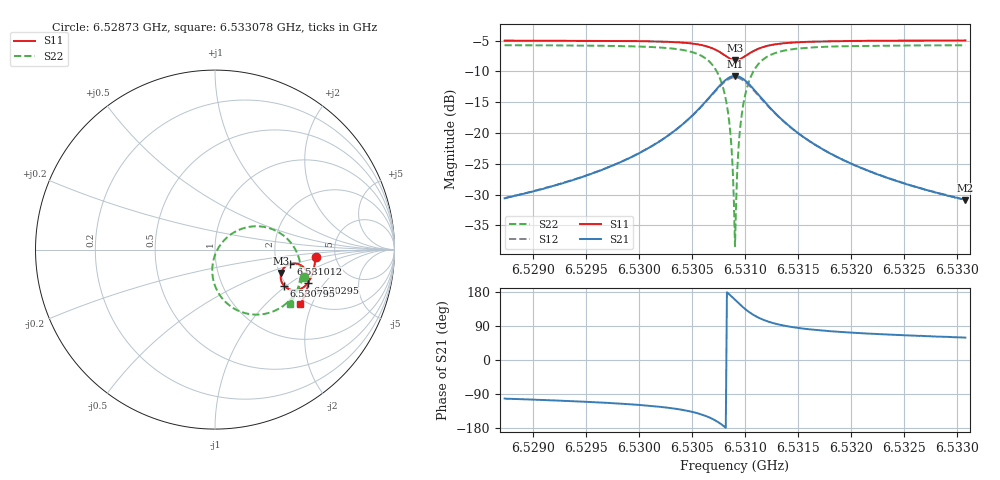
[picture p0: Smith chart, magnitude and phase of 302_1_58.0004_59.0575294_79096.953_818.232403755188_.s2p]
#  HZ  S  RI  R  50.00
! Rohde & Schwarz Vector Network Analyzer
! Rohde-Schwarz,ZNB20-2Port,1311601062101988,3.16
! Created: UTC 3/21/2024, 1:03:49 AM
! freq[Hz]  re:S11  im:S11  re:S21  im:S21  re:S12  im:S12  re:S22  im:S22
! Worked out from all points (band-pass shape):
!   401 points, 6.52873 GHz to 6.533078 GHz, reference 50 ohm
!   highest |S21| = -10.72 dB at 6.530904 GHz (marker M1); lowest = -30.9 dB at 6.533078 GHz (marker M2)
!   |S21| within 3 dB of the highest: 6.530687 GHz to 6.531122 GHz (435.2 kHz wide, 0.00666 % of centre)
!   lowest |S11| = -8.2 dB at 6.530904 GHz (marker M3), VSWR 2.28, Z = 102 - j31.4 ohm
!   |S11| at or under -10 dB: nowhere
!   |S22| runs from -38.4 to -5.8 dB; largest |S21 - S12| = 0.011
!   S11 on the Smith chart (normalised r, x): 6.52873 GHz: 3.50, -0.45; 6.530295 GHz: 2.59, -1.39; 6.530795 GHz: 1.94, -0.96; 6.531012 GHz: 2.39, -0.46; 6.533078 GHz: 1.85, -1.65
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6.5287296e9  0.5601 -0.0439  -0.00597 -0.0289  -0.0067 -0.0289  0.4932 -0.1506
6.5294579e9  0.551 -0.104  -0.0148 -0.0412  -0.0158 -0.041  0.464 -0.2166
6.5301862e9  0.5244 -0.1748  -0.0466 -0.071  -0.0485 -0.0698  0.3872 -0.3083
6.5302949e9  0.5156 -0.1876  -0.059 -0.0788  -0.0613 -0.0771  0.361 -0.3261
6.5306319e9  0.4533 -0.2258  -0.1545 -0.0962  -0.1567 -0.0901  0.1804 -0.357
6.5307297e9  0.4141 -0.2215  -0.2154 -0.0724  -0.2149 -0.0637  0.0773 -0.3083
6.5307949e9  0.3848 -0.2012  -0.2585 -0.0278  -0.2544 -0.0184  0.0107 -0.2261
6.5308493e9  0.3679 -0.1697  -0.2802 0.033  -0.2724 0.0406  -0.0155 -0.1218
6.530871e9  0.3658 -0.1543  -0.2811 0.0614  -0.2719 0.0676  -0.0119 -0.0748
6.5308819e9  0.3657 -0.1463  -0.2793 0.0759  -0.2699 0.0813  -0.00686 -0.0512
6.5308928e9  0.3665 -0.1383  -0.2762 0.0904  -0.2664 0.0949  0.000648 -0.0283
6.5309036e9  0.3684 -0.1305  -0.2716 0.1045  -0.2617 0.1082  0.0106 -0.00576
6.5309145e9  0.3712 -0.1227  -0.2657 0.1182  -0.2557 0.1209  0.0226 0.0155
6.5309254e9  0.3746 -0.1155  -0.2583 0.131  -0.2485 0.1328  0.0366 0.0355
6.5309363e9  0.3788 -0.1088  -0.25 0.143  -0.2402 0.144  0.0524 0.0537
6.530958e9  0.389 -0.0969  -0.2302 0.1638  -0.2212 0.1634  0.088 0.0845
6.5310123e9  0.4204 -0.0793  -0.1734 0.1949  -0.1669 0.1924  0.1869 0.1262
6.5310884e9  0.4609 -0.0796  -0.1018 0.1978  -0.0984 0.195  0.3072 0.118
6.5311971e9  0.4965 -0.1013  -0.0399 0.169  -0.0383 0.1674  0.4077 0.0552
6.531632e9  0.5211 -0.1796  0.0141 0.082  0.0151 0.0816  0.4782 -0.1286
6.5323603e9  0.5016 -0.2518  0.0167 0.0393  0.0173 0.0392  0.4507 -0.2431
6.5330777e9  0.4742 -0.3049  0.0147 0.0245  0.0152 0.0244  0.4156 -0.3046
